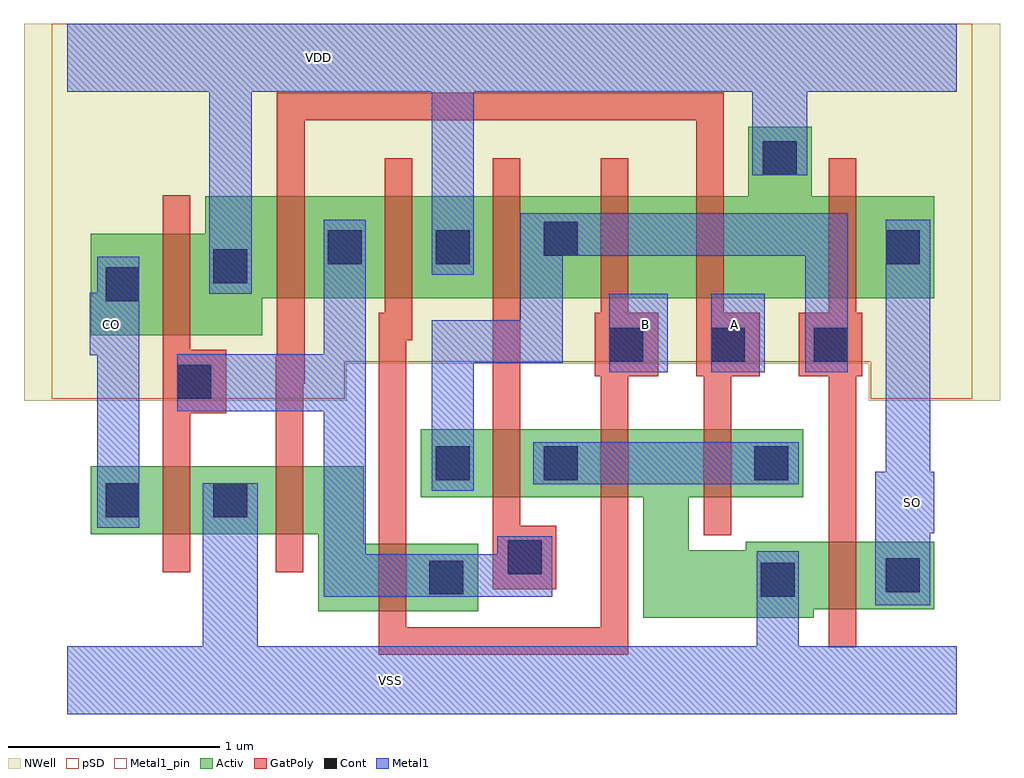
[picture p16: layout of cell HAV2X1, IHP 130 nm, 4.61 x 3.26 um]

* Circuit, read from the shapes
.subckt HAV2X1 A B CO SO VDD VSS
XM1 VSS n1 CO VSUBS sg13_lv_nmos w=0.32u l=0.13u
XM2 n2 A VSS VSUBS sg13_lv_nmos w=0.32u l=0.13u
XM3 n1 B n2 VSUBS sg13_lv_nmos w=0.32u l=0.13u
XM4 n3 n1 n4 VSUBS sg13_lv_nmos w=0.32u l=0.13u
XM5 VSS B n3 VSUBS sg13_lv_nmos w=0.32u l=0.13u
XM6 n3 A VSS VSUBS sg13_lv_nmos w=0.32u l=0.13u
XM7 SO n4 VSS VSUBS sg13_lv_nmos w=0.32u l=0.13u
XM8 VDD n1 CO n5 sg13_lv_pmos w=0.48u l=0.13u
XM9 n1 A VDD n5 sg13_lv_pmos w=0.48u l=0.13u
XM10 VDD B n1 n5 sg13_lv_pmos w=0.48u l=0.13u
XM11 n4 n1 VDD n5 sg13_lv_pmos w=0.48u l=0.13u
XM12 n6 B n4 n5 sg13_lv_pmos w=0.48u l=0.13u
XM13 VDD A n6 n5 sg13_lv_pmos w=0.48u l=0.13u
XM14 SO n4 VDD n5 sg13_lv_pmos w=0.48u l=0.13u
.ends

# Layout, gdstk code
import gdstk
lib = gdstk.Library(unit=1e-6, precision=1e-09)
def R(c, l, rs):  # rectangles x0, y0, x1, y1
    for r in rs: c.add(gdstk.rectangle(r[:2], r[2:], *l))
def P(c, l, *ps):  # polygons
    for p in ps: c.add(gdstk.Polygon(p, *l))
Activ = (1, 0)
GatPoly = (5, 0)
Cont = (6, 0)
Metal1 = (8, 0)
Metal1_pin = (8, 2)
pSD = (14, 0)
NWell = (31, 0)

hav2x1 = lib.new_cell('HAV2X1')
P(hav2x1, Activ, [(2.72,0.295),(2.72,0.865),(1.67,0.865),(1.67,1.185),(3.475,1.185),(3.475,0.865),(2.935,0.865),(2.935,0.615),(3.205,0.615),(3.205,0.655),(4.095,0.655),(4.095,0.335),(3.525,0.335),(3.525,0.295)],
  [(0.11,1.63),(0.11,2.11),(0.65,2.11),(0.65,2.285),(3.215,2.285),(3.215,2.615),(3.515,2.615),(3.515,2.285),(4.095,2.285),(4.095,1.805),(0.92,1.805),(0.92,1.63)],
  [(1.185,0.325),(1.185,0.69),(0.11,0.69),(0.11,1.01),(1.4,1.01),(1.4,0.645),(1.94,0.645),(1.94,0.325)])
P(hav2x1, GatPoly, [(1.47,0.12),(1.47,1.735),(1.5,1.735),(1.5,2.465),(1.63,2.465),(1.63,1.605),(1.6,1.605),(1.6,0.25),(2.52,0.25),(2.52,1.435),(2.49,1.435),(2.49,1.735),(2.52,1.735),(2.52,2.465),(2.65,2.465),(2.65,1.735),(2.79,1.735),(2.79,1.435),(2.65,1.435),(2.65,0.12)],
  [(0.985,0.51),(0.985,1.53),(0.99,1.53),(0.99,2.775),(3.1,2.775),(3.1,1.735),(3.27,1.735),(3.27,1.435),(3.135,1.435),(3.135,0.685),(3.005,0.685),(3.005,1.435),(2.97,1.435),(2.97,2.645),(1.12,2.645),(1.12,1.4),(1.115,1.4),(1.115,0.51)],
  [(3.595,0.155),(3.595,1.435),(3.455,1.435),(3.455,1.735),(3.595,1.735),(3.595,2.465),(3.725,2.465),(3.725,1.735),(3.755,1.735),(3.755,1.435),(3.725,1.435),(3.725,0.155)],
  [(2.01,0.43),(2.01,2.465),(2.14,2.465),(2.14,0.73),(2.31,0.73),(2.31,0.43)],
  [(0.45,0.51),(0.45,2.29),(0.58,2.29),(0.58,1.56),(0.75,1.56),(0.75,1.26),(0.58,1.26),(0.58,0.51)])
R(hav2x1, Cont, [(3.275,0.395,3.435,0.555), (1.71,0.405,1.87,0.565), (3.865,0.415,4.025,0.575), (2.08,0.5,2.24,0.66), (0.18,0.77,0.34,0.93), (0.69,0.77,0.85,0.93), (1.74,0.945,1.9,1.105), (2.25,0.945,2.41,1.105), (3.245,0.945,3.405,1.105), (0.52,1.33,0.68,1.49), (2.56,1.505,2.72,1.665), (3.04,1.505,3.2,1.665), (3.525,1.505,3.685,1.665), (0.18,1.79,0.34,1.95), (0.69,1.875,0.85,2.035), (1.23,1.965,1.39,2.125), (1.74,1.965,1.9,2.125), (3.865,1.965,4.025,2.125), (2.25,2.005,2.41,2.165), (3.285,2.385,3.445,2.545)])
R(hav2x1, Metal1, [(2.2,0.925,3.455,1.125), (2.56,1.455,2.835,1.825), (3.04,1.455,3.295,1.825)])
P(hav2x1, Metal1, [(0,-0.16),(0,0.16),(0.64,0.16),(0.64,0.93),(0.9,0.93),(0.9,0.16),(3.255,0.16),(3.255,0.61),(3.455,0.61),(3.455,0.16),(4.2,0.16),(4.2,-0.16)],
  [(3.815,0.355),(3.815,0.985),(3.865,0.985),(3.865,2.175),(4.075,2.175),(4.075,0.985),(4.095,0.985),(4.095,0.695),(4.075,0.695),(4.075,0.355)],
  [(0.67,1.825),(0.67,2.78),(0,2.78),(0,3.1),(4.2,3.1),(4.2,2.78),(3.495,2.78),(3.495,2.385),(3.235,2.385),(3.235,2.78),(1.92,2.78),(1.92,1.915),(1.72,1.915),(1.72,2.78),(0.87,2.78),(0.87,1.825)],
  [(0.14,0.72),(0.14,1.535),(0.105,1.535),(0.105,1.83),(0.14,1.83),(0.14,2),(0.34,2),(0.34,0.72)],
  [(1.72,0.895),(1.72,1.7),(2.14,1.7),(2.14,2.205),(3.685,2.205),(3.685,1.455),(3.485,1.455),(3.485,2.005),(2.34,2.005),(2.34,1.5),(1.92,1.5),(1.92,0.895)],
  [(1.21,0.395),(1.21,1.27),(0.52,1.27),(0.52,1.54),(1.21,1.54),(1.21,2.175),(1.41,2.175),(1.41,0.595),(2.03,0.595),(2.03,0.68),(2.29,0.68),(2.29,0.395)])
R(hav2x1, Metal1_pin, [(2.56,1.455,2.835,1.825), (3.04,1.455,3.295,1.825)])
P(hav2x1, Metal1_pin, [(0,-0.16),(0,0.16),(0.64,0.16),(0.64,0.93),(0.9,0.93),(0.9,0.16),(3.255,0.16),(3.255,0.61),(3.455,0.61),(3.455,0.16),(4.2,0.16),(4.2,-0.16)],
  [(3.815,0.355),(3.815,0.985),(3.865,0.985),(3.865,2.175),(4.075,2.175),(4.075,0.985),(4.095,0.985),(4.095,0.695),(4.075,0.695),(4.075,0.355)],
  [(0.14,0.72),(0.14,1.535),(0.105,1.535),(0.105,1.83),(0.14,1.83),(0.14,2),(0.34,2),(0.34,0.72)],
  [(0.67,1.825),(0.67,2.78),(0,2.78),(0,3.1),(4.2,3.1),(4.2,2.78),(3.495,2.78),(3.495,2.385),(3.235,2.385),(3.235,2.78),(1.92,2.78),(1.92,1.915),(1.72,1.915),(1.72,2.78),(0.87,2.78),(0.87,1.825)])
P(hav2x1, pSD, [(-0.075,1.33),(-0.075,3.1),(4.275,3.1),(4.275,1.33),(3.795,1.33),(3.795,1.505),(1.31,1.505),(1.31,1.33)])
P(hav2x1, NWell, [(-0.205,1.32),(-0.205,3.1),(4.405,3.1),(4.405,1.32),(3.785,1.32),(3.785,1.495),(1.32,1.495),(1.32,1.32)])
hav2x1.add(gdstk.Label('SO', (3.99,0.84), layer=8, texttype=25))
hav2x1.add(gdstk.Label('A', (3.15,1.68), layer=8, texttype=25))
hav2x1.add(gdstk.Label('VSS', (1.525,0), layer=8, texttype=25))
hav2x1.add(gdstk.Label('CO', (0.21,1.68), layer=8, texttype=25))
hav2x1.add(gdstk.Label('B', (2.73,1.68), layer=8, texttype=25))
hav2x1.add(gdstk.Label('VDD', (1.185,2.94), layer=8, texttype=25))

lib.write_gds('HAV2X1.gds')
